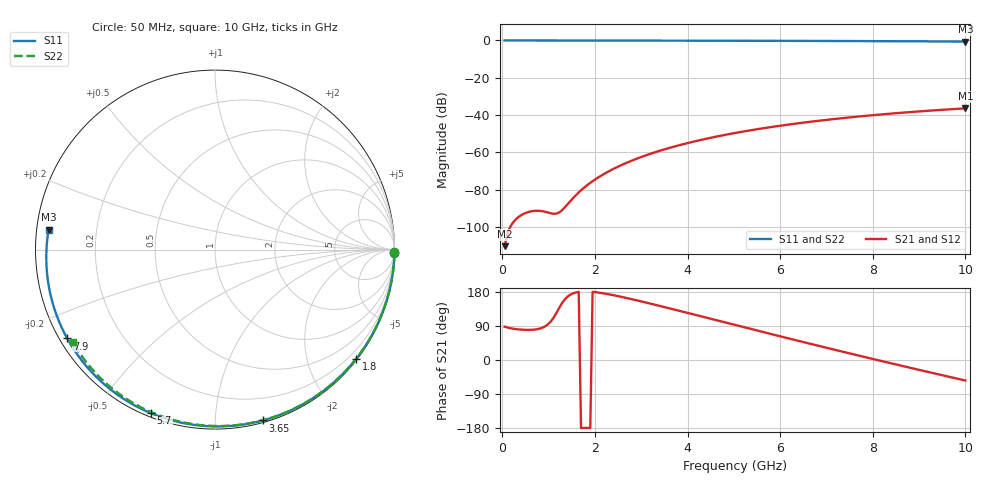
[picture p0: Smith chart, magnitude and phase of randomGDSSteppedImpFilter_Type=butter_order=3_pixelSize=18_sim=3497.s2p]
! freq	dB(S11)	phase(S11)	dB(S12)	phase(S12)
!  dB(S21)	phase(S21)	dB(S22)	phase(S22)
!S-par simulation data
#  GHz  S  DB  R 50
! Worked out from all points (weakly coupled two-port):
!   200 points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, 50 MHz to 10 GHz, reference 50 ohm
!   highest |S21| = -36.40 dB at 10 GHz (marker M1); lowest = -110.2 dB at 50 MHz (marker M2)
!   lowest |S11| = -0.6 dB at 10 GHz (marker M3), VSWR 29.11, Z = 1.72 + j3.01 ohm
!   |S11| at or under -10 dB: nowhere
!   |S22| runs from -0.5 to 0.0 dB; largest |S21 - S12| = 0
!   S11 on the Smith chart (normalised r, x): 50 MHz: open; 1.8 GHz: 0.03, -2.92; 3.65 GHz: 0.02, -1.32; 5.7 GHz: 0.02, -0.68; 7.9 GHz: 0.02, -0.28; 10 GHz: 0.03, +0.06
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0.05  -0.00 -1.1  -110.25 88.0  -110.25 88.0  -0.00 -0.9
0.45  -0.01 -9.6  -93.06 79.8  -93.06 79.8  -0.01 -7.7
0.85  -0.02 -18.1  -91.45 84.5  -91.45 84.5  -0.02 -14.5
1.25  -0.03 -26.5  -91.83 142.0  -91.83 142.0  -0.03 -21.2
1.7  -0.05 -35.8  -80.31 -179.5  -80.31 -179.5  -0.04 -28.6
1.75  -0.05 -36.8  -79.24 -179.2  -79.24 -179.2  -0.04 -29.4
1.8  -0.05 -37.8  -78.22 -179.1  -78.22 -179.1  -0.04 -30.3
2.1  -0.06 -43.9  -72.98 177.6  -72.98 177.6  -0.04 -35.2
2.45  -0.06 -51.0  -68.22 169.8  -68.22 169.8  -0.05 -40.9
2.9  -0.08 -59.9  -63.39 157.6  -63.39 157.6  -0.06 -48.1
3.4  -0.09 -69.5  -59.12 142.8  -59.12 142.8  -0.07 -55.9
3.65  -0.10 -74.3  -57.30 135.1  -57.30 135.1  -0.08 -59.8
4.35  -0.12 -87.3  -52.96 113.5  -52.96 113.5  -0.10 -70.4
5.05  -0.15 -99.9  -49.48 91.7  -49.48 91.7  -0.12 -80.7
5.7  -0.19 -111.3  -46.80 71.7  -46.80 71.7  -0.15 -90.0
6.2  -0.21 -120.0  -45.01 56.4  -45.01 56.4  -0.17 -97.0
6.7  -0.25 -128.5  -43.43 41.3  -43.43 41.3  -0.20 -103.8
7.3  -0.29 -138.7  -41.75 23.3  -41.75 23.3  -0.24 -111.9
7.9  -0.35 -149.0  -40.28 5.7  -40.28 5.7  -0.28 -119.8
8.35  -0.39 -156.8  -39.29 -7.4  -39.29 -7.4  -0.32 -125.7
9.2  -0.49 -171.9  -37.67 -31.7  -37.67 -31.7  -0.40 -136.8
10  -0.60 173.1  -36.40 -54.1  -36.40 -54.1  -0.49 -147.2
